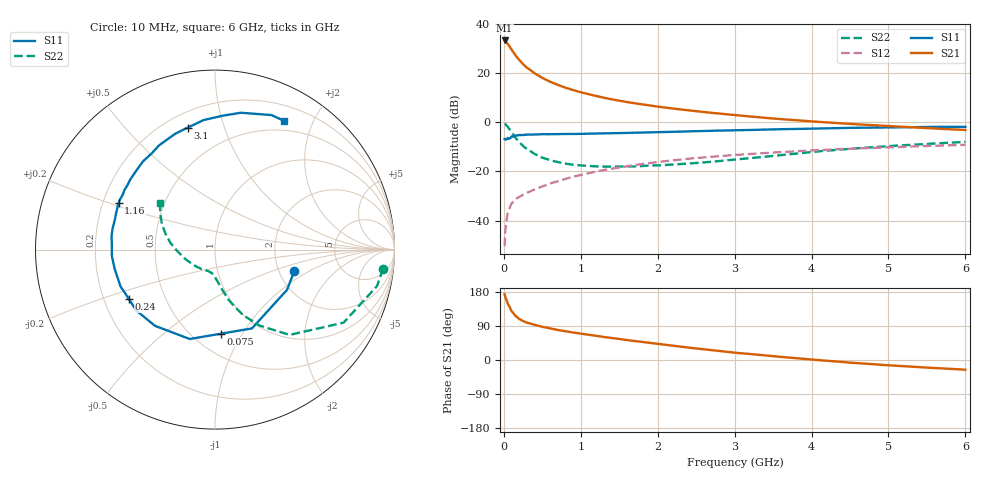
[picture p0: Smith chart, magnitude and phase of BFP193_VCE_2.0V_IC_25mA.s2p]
! Infineon Technologies  Discrete & RF Semiconductors
! BFP193
! VCE = 2.0 V,  IC =  25 mA
! Common Emitter S-Parameters:  Jan 2016
# GHz  S  MA  R  50
!  f  S11  S21  S12  S22
! GHz  MAG  ANG  MAG  ANG  MAG  ANG  MAG  ANG
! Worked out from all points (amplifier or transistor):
!   210 points, 10 MHz to 6 GHz, reference 50 ohm
!   highest |S21| = 33.4 dB at 10 MHz (marker M1)
!   |S21| within 3 dB of that: start of sweep to 84.32 MHz
!   unconditionally stable (mu >= 1): 681 MHz to 3.899 GHz
!   at 185 MHz: K = 0.55, MSG = 28.3 dB, |S12| = -30.6 dB
!   at 1.52 GHz: K = 1.08, MAG = 11.8 dB, |S12| = -18.2 dB
!   at 6 GHz: K = 0.94, MSG = 3.0 dB, |S12| = -9.1 dB
!   S11 on the Smith chart (normalised r, x): 10 MHz: 2.42, -0.74; 75 MHz: 0.67, -0.81; 240 MHz: 0.31, -0.24; 1.16 GHz: 0.27, +0.21; 3.1 GHz: 0.29, +0.76; 6 GHz: 0.38, +1.60
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0.01  0.4578 -15.2  46.98 173.5  0.003 86.6  0.9426 -6.5
0.02  0.4597 -29.2  45.37 165.8  0.0064 78.0  0.9251 -12.7
0.05  0.4849 -64.9  40.35 148.8  0.0141 67.2  0.8239 -29.6
0.075  0.4697 -86.0  35 140.2  0.018 61.1  0.7178 -37.9
0.1  0.5176 -105.8  30.7 128.9  0.0221 57.2  0.6317 -48.8
0.15  0.5406 -128.2  23.45 116.3  0.0272 52.0  0.489 -59.8
0.2  0.5544 -142.2  18.8 108.4  0.0305 50.9  0.3962 -66.8
0.24  0.553 -150.0  16.07 104.0  0.0331 50.7  0.3427 -70.4
0.3  0.565 -158.7  13.09 98.6  0.0366 52.1  0.2876 -75.0
0.4  0.5692 -169.2  10.04 92.5  0.0431 54.1  0.2271 -79.9
0.5  0.5756 -176.3  8.067 87.5  0.0495 56.5  0.1917 -83.5
0.6  0.5751 177.7  6.775 83.2  0.0566 57.6  0.17 -86.8
0.7  0.5811 172.7  5.84 79.2  0.0634 58.8  0.1551 -89.5
0.88  0.5813 165.1  4.671 73.3  0.0766 59.1  0.1385 -94.4
1.02  0.5876 159.6  4.048 68.9  0.0864 59.0  0.1321 -98.2
1.16  0.5959 154.4  3.58 64.8  0.0966 58.6  0.128 -102.4
1.6  0.613 140.2  2.602 52.6  0.1284 55.0  0.1268 -115.6
2.02  0.6351 128.5  2.084 42.1  0.1572 50.4  0.1335 -129.7
3.1  0.6965 102.6  1.366 17.6  0.2226 37.5  0.1804 -166.2
4.1  0.752 85.2  1.026 -0.5  0.2735 25.8  0.2583 169.4
5.1  0.7945 71.8  0.828 -15.1  0.3151 14.8  0.3362 152.4
6  0.8138 62.0  0.703 -25.6  0.3503 5.2  0.4011 139.8
